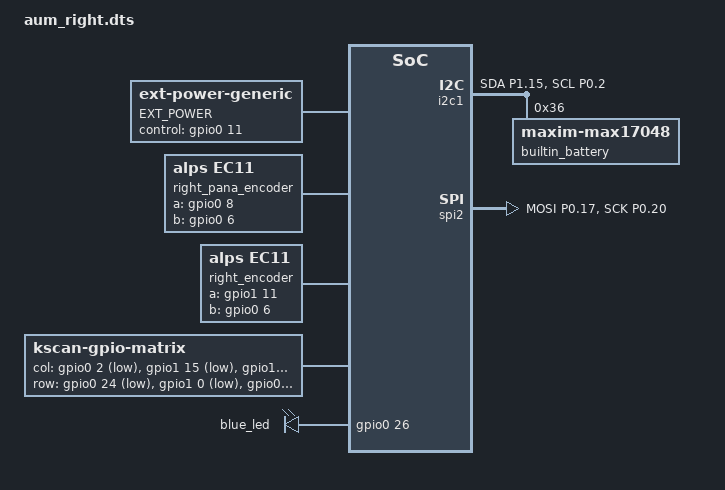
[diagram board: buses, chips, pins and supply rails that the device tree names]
#include "aum.dtsi"
#include <dt-bindings/led/led.h>

/ {
	EXT_POWER {
	compatible = "zmk,ext-power-generic";
		control-gpios = <&gpio0 11 GPIO_ACTIVE_HIGH>;
		init-delay-ms = <50>;
	};

right_pana_encoder: encoder_right_pana {
        compatible = "alps,ec11";
        a-gpios = <&gpio0 8 (GPIO_ACTIVE_HIGH | GPIO_PULL_UP)>;
        b-gpios = <&gpio0 6 (GPIO_ACTIVE_HIGH | GPIO_PULL_UP)>;
        steps = <30>;
 };
right_encoder: encoder_right {
        compatible = "alps,ec11";
        a-gpios = <&gpio1 11 (GPIO_ACTIVE_HIGH | GPIO_PULL_UP)>;
        b-gpios = <&gpio0 6 (GPIO_ACTIVE_HIGH | GPIO_PULL_UP)>;
        steps = <30>;
 };
sensors: sensors {
        compatible = "zmk,keymap-sensors";
        sensors = <&right_encoder &right_pana_encoder>;
        triggers-per-rotation = <15>;
    };
};

&pinctrl {
    i2c1_default: i2c1_default {
        group1 {
            psels = <NRF_PSEL(TWIM_SDA, 1, 15)>,
	    <NRF_PSEL(TWIM_SCL, 0, 2)>;
	    bias-pull-up;
        };
    };

    i2c1_sleep: i2c1_sleep {
        group1 {
            psels = <NRF_PSEL(TWIM_SDA, 1, 15)>,
            <NRF_PSEL(TWIM_SCL, 0, 2)>;
            low-power-enable;
	    bias-pull-up;
        };
    };
		spi2_default: spi2_default {
				group1 {
					psels = <NRF_PSEL(SPIM_MOSI, 0, 17)>,
					<NRF_PSEL(SPIM_SCK, 0, 20)>;
				};
		};

		spi2_sleep: spi2_sleep {
				group1 {
					psels = <NRF_PSEL(SPIM_MOSI, 0, 17)>,
					<NRF_PSEL(SPIM_SCK, 0, 20)>;
					low-power-enable;
				};
		};
};

&i2c1 {
	compatible = "nordic,nrf-twi";
	pinctrl-0 = <&i2c1_default>;
	pinctrl-1 = <&i2c1_sleep>;
	pinctrl-names = "default", "sleep"; 
	

	builtin_battery: max17048@36 {
		compatible = "zmk,maxim-max17048";
		status = "okay";
		reg = <0x36>;
	};

	status = "okay";
};

lpm_view_spi: &spi2 {
    compatible = "nordic,nrf-spim";
    pinctrl-0 = <&spi2_default>;
    pinctrl-1 = <&spi2_sleep>;
    pinctrl-names = "default", "sleep";
    cs-gpios = <&gpio0 6 (GPIO_ACTIVE_HIGH | GPIO_PULL_DOWN)>;
};

nice_view_spi: &spi2 {
    compatible = "nordic,nrf-spim";
    pinctrl-0 = <&spi2_default>;
    pinctrl-1 = <&spi2_sleep>;
    pinctrl-names = "default", "sleep";
    cs-gpios = <&gpio0 6 (GPIO_ACTIVE_HIGH | GPIO_PULL_DOWN)>;
};


&default_transform {
		col-offset=<24>;
};

/ {
	chosen {
		zmk,battery =&builtin_battery;
	    	zmk,kscan = &kscan0;
		};
		kscan0: kscan {
		        compatible = "zmk,kscan-gpio-matrix";
		        label = "KSCAN";
	
		        diode-direction = "col2row";
		        col-gpios
			    = <&gpio0  2 (GPIO_ACTIVE_LOW | GPIO_PULL_UP)> 
			    , <&gpio1  15 (GPIO_ACTIVE_LOW | GPIO_PULL_UP)> 
		  	    , <&gpio1  13 (GPIO_ACTIVE_LOW | GPIO_PULL_UP)> 
			    , <&gpio1  11 (GPIO_ACTIVE_LOW | GPIO_PULL_UP)> 
			    , <&gpio0  10 (GPIO_ACTIVE_LOW | GPIO_PULL_UP)> 
			    , <&gpio0  9 (GPIO_ACTIVE_LOW | GPIO_PULL_UP)> 
			    ;
		        row-gpios
			    = <&gpio0  24 (GPIO_ACTIVE_LOW | GPIO_PULL_UP)> 
			    , <&gpio1  0 (GPIO_ACTIVE_LOW | GPIO_PULL_UP)> 
		  	    , <&gpio0  11 (GPIO_ACTIVE_LOW | GPIO_PULL_UP)> 
			    , <&gpio1  4 (GPIO_ACTIVE_LOW | GPIO_PULL_UP)> 
			    , <&gpio1  6 (GPIO_ACTIVE_LOW | GPIO_PULL_UP)> 
			    ;
	    };
	leds {
		compatible = "gpio-leds";
		blue_led: led_0 {
			gpios = <&gpio0 26 GPIO_ACTIVE_HIGH>;
		};
	};
};
